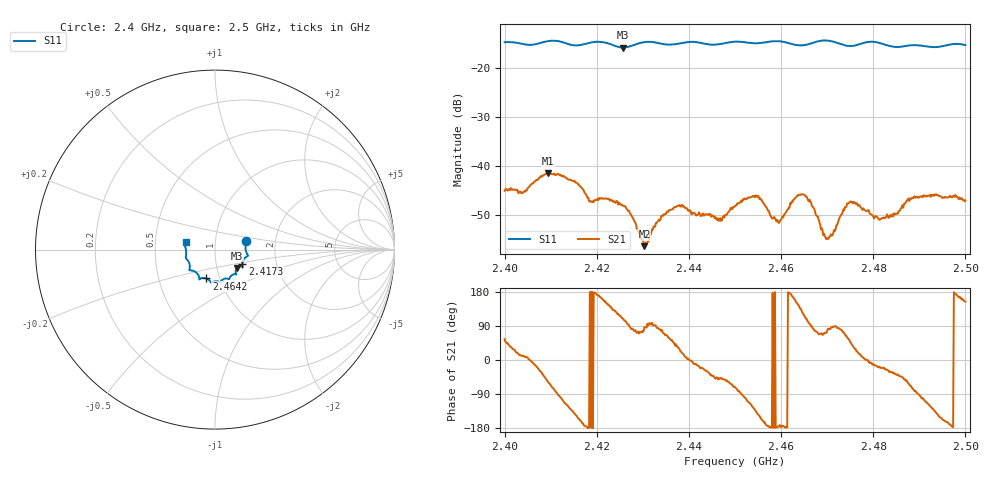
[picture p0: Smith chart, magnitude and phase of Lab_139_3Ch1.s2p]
# Hz S RI R 50
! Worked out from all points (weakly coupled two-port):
!   601 points, 2.4 GHz to 2.5 GHz, reference 50 ohm
!   highest |S21| = -41.48 dB at 2.4093 GHz (marker M1); lowest = -56.2 dB at 2.4303 GHz (marker M2)
!   lowest |S11| = -15.9 dB at 2.4257 GHz (marker M3), VSWR 1.38, Z = 62.4 - j13.1 ohm
!   |S11| at or under -10 dB: start of sweep to end of sweep
!   S12 and S22 are empty: the file has one direction only
!   S11 on the Smith chart (normalised r, x): 2.4 GHz: 1.41, +0.14; 2.4173 GHz: 1.34, -0.23; 2.4642 GHz: 0.86, -0.29; 2.5 GHz: 0.72, +0.06
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2.4e9  0.174 0.0495  0.00321 0.0046  0 0  0 0
2.404e9  0.1714 0.025  0.00534 0.000924  0 0  0 0
2.409333e9  0.1827 -0.0299  0.00467 -0.00702  0 0  0 0
2.416667e9  0.1525 -0.0748  -0.0058 -0.0018  0 0  0 0
2.417333e9  0.1519 -0.0822  -0.00534 -0.000636  0 0  0 0
2.418833e9  0.1533 -0.0942  -0.00435 -5.86e-05  0 0  0 0
2.425667e9  0.1223 -0.1025  -0.00135 0.00377  0 0  0 0
2.430333e9  0.1183 -0.137  8.14e-05 0.00154  0 0  0 0
2.433333e9  0.1128 -0.1366  0.000296 0.00278  0 0  0 0
2.4375e9  0.0847 -0.1518  0.0032 0.0023  0 0  0 0
2.446667e9  0.0421 -0.1677  0.00186 -0.0022  0 0  0 0
2.45e9  0.0295 -0.1806  0.00124 -0.00371  0 0  0 0
2.454667e9  0.00462 -0.1762  -0.00375 -0.00328  0 0  0 0
2.4595e9  -0.0226 -0.1838  -0.00264 -0.000174  0 0  0 0
2.464167e9  -0.0482 -0.1608  -0.00368 0.00362  0 0  0 0
2.466667e9  -0.0761 -0.1595  7.4e-05 0.00396  0 0  0 0
2.47e9  -0.0874 -0.1663  0.000433 0.00181  0 0  0 0
2.474833e9  -0.1048 -0.1279  0.00263 0.00342  0 0  0 0
2.481167e9  -0.1422 -0.1083  0.00275 -0.000923  0 0  0 0
2.483333e9  -0.1404 -0.0894  0.00263 -0.0014  0 0  0 0
2.489e9  -0.1624 -0.0464  0.000699 -0.00488  0 0  0 0
2.5e9  -0.1639 0.0418  -0.00403 0.00195  0 0  0 0
